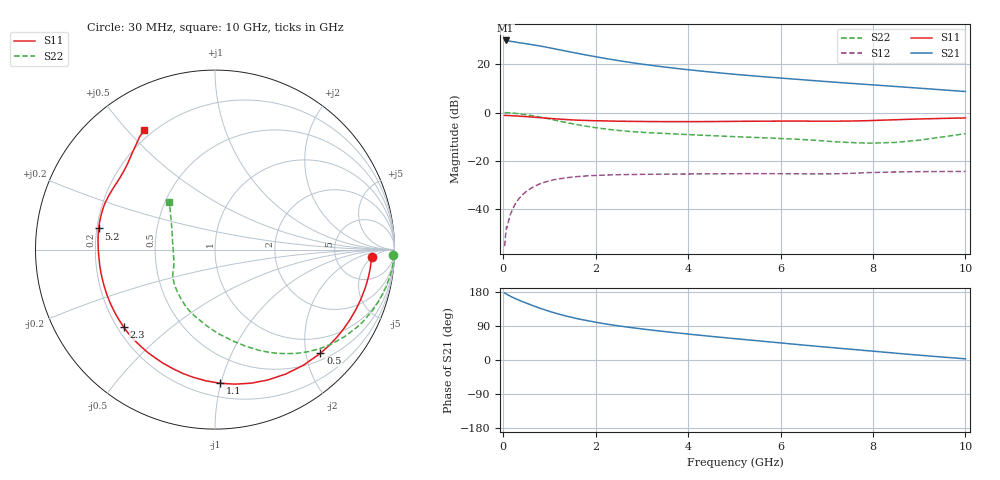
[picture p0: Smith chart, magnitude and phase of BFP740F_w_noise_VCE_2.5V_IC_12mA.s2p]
! Infineon Technologies  Discrete & RF Semiconductors
! BFP740F
! VCE =  2.5 V,  IC =  12 mA
! Common Emitter S-Parameters:  Oct 2012
# GHz  S  MA  R  50
!  f  S11  S21  S12  S22
! GHz  MAG  ANG  MAG  ANG  MAG  ANG  MAG  ANG
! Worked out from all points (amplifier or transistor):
!   99 points, 30 MHz to 10 GHz, reference 50 ohm
!   highest |S21| = 29.9 dB at 50 MHz (marker M1)
!   |S21| within 3 dB of that: start of sweep to 988.6 MHz
!   unconditionally stable (mu >= 1): 6.469 GHz to end of sweep
!   at 350 MHz: K = 0.09, MSG = 32.2 dB, |S12| = -35.5 dB
!   at 3.5 GHz: K = 0.54, MSG = 22.2 dB, |S12| = -25.5 dB
!   at 10 GHz: K = 1.26, MAG = 13.5 dB, |S12| = -24.4 dB
!   lowest NFmin = 0.48 dB at 450 MHz
!   S11 on the Smith chart (normalised r, x): 30 MHz: 13, -5; 500 MHz: 0.64, -2.29; 1.1 GHz: 0.30, -0.99; 2.3 GHz: 0.23, -0.35; 5.2 GHz: 0.21, +0.09; 10 GHz: 0.17, +0.56
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0.03  0.8736 -2.8  30.98 176.9  0.0017 80.6  0.9944 -1.6
0.05  0.8718 -4.7  31.2 175.6  0.0029 80.0  0.9954 -3.1
0.15  0.8641 -14.1  30.05 168.6  0.0075 84.2  0.9837 -9.3
0.25  0.8531 -23.1  28.99 162.7  0.0122 77.7  0.9652 -15.1
0.4  0.8355 -36.2  27.59 154.9  0.019 70.8  0.9286 -23.4
0.5  0.824 -44.5  26.65 150.1  0.0231 66.4  0.9014 -28.7
0.6  0.8107 -52.6  25.75 145.3  0.0269 62.5  0.8708 -33.7
0.8  0.7838 -68.0  23.94 136.4  0.0335 54.7  0.8041 -43.3
1  0.7578 -81.6  21.98 128.4  0.0385 47.9  0.7349 -51.9
1.1  0.7451 -87.9  21.04 124.7  0.0405 44.7  0.7011 -55.8
1.4  0.7128 -104.7  18.42 114.9  0.0449 37.3  0.6116 -66.5
1.7  0.6895 -118.6  16.2 106.7  0.0478 31.7  0.5391 -75.7
2  0.6767 -130.1  14.37 99.7  0.0497 27.3  0.4862 -84.2
2.3  0.667 -139.7  12.78 93.6  0.0509 23.7  0.446 -92.0
2.8  0.6559 -152.2  10.76 85.1  0.052 19.4  0.4023 -102.2
3.4  0.6492 -164.1  9.006 76.3  0.0528 15.9  0.3718 -112.0
4.2  0.6485 -176.6  7.374 66.0  0.0535 12.9  0.3421 -121.6
5.1  0.6578 171.0  6.097 55.3  0.054 10.6  0.3139 -132.1
5.2  0.6585 169.7  5.986 54.2  0.0539 10.5  0.3109 -133.2
6.7  0.6627 151.0  4.601 37.2  0.0534 8.8  0.2674 -151.3
8.5  0.7104 130.3  3.463 17.9  0.0587 8.9  0.2408 169.0
10  0.7732 120.7  2.727 3.1  0.0602 5.8  0.3656 134.0
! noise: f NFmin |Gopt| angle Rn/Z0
0.45  0.48  0.16  5  0.24
0.9  0.53  0.17  13  0.13
1.5  0.6  0.18  23  0.06
1.9  0.64  0.17  33  0.05
2.4  0.69  0.17  47  0.05
3.5  0.8  0.14  69  0.13
5.5  0.99  0.09  140  0.21
10  1.39  0.38  -115  0.11
